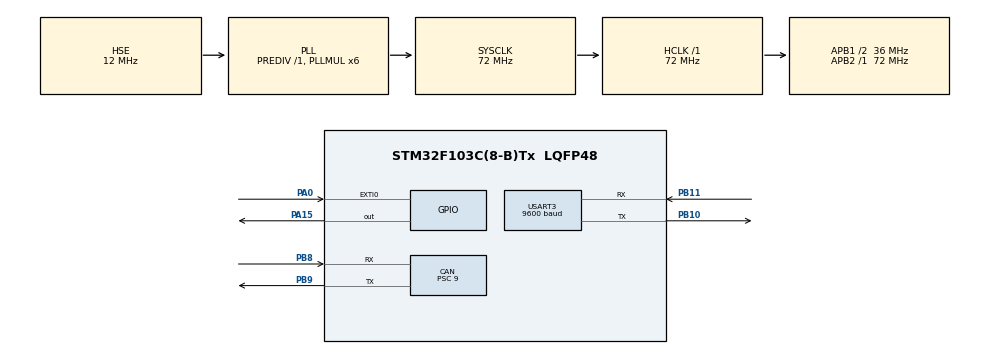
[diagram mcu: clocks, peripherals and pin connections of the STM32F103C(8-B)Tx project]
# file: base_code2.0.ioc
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CAN.BS1=CAN_BS1_2TQ
CAN.CalculateBaudRate=1000000
CAN.CalculateTimeBit=1000
CAN.CalculateTimeQuantum=250.0
CAN.Prescaler=9
Dma.Request0=USART3_RX
Dma.Request1=USART3_TX
Dma.USART3_RX.0.Direction=DMA_PERIPH_TO_MEMORY
Dma.USART3_RX.0.Instance=DMA1_Channel3
Dma.USART3_RX.0.MemDataAlignment=DMA_MDATAALIGN_BYTE
Dma.USART3_RX.0.MemInc=DMA_MINC_ENABLE
Dma.USART3_RX.0.Mode=DMA_NORMAL
Dma.USART3_RX.0.PeriphDataAlignment=DMA_PDATAALIGN_BYTE
Dma.USART3_RX.0.PeriphInc=DMA_PINC_DISABLE
Dma.USART3_RX.0.Priority=DMA_PRIORITY_HIGH
Dma.USART3_TX.1.Direction=DMA_MEMORY_TO_PERIPH
Dma.USART3_TX.1.Instance=DMA1_Channel2
Dma.USART3_TX.1.MemDataAlignment=DMA_MDATAALIGN_BYTE
Dma.USART3_TX.1.MemInc=DMA_MINC_ENABLE
Dma.USART3_TX.1.Mode=DMA_NORMAL
Dma.USART3_TX.1.PeriphDataAlignment=DMA_PDATAALIGN_BYTE
Dma.USART3_TX.1.PeriphInc=DMA_PINC_DISABLE
Dma.USART3_TX.1.Priority=DMA_PRIORITY_VERY_HIGH
Mcu.Family=STM32F1
Mcu.Name=STM32F103C(8-B)Tx
Mcu.Package=LQFP48
NVIC.CAN1_RX1_IRQn=true\:0\:0\:false\:false\:true\:true\:true\:true
NVIC.CAN1_SCE_IRQn=true\:0\:0\:false\:false\:true\:true\:true\:true
NVIC.DMA1_Channel2_IRQn=true\:0\:0\:false\:false\:true\:false\:true\:true
NVIC.DMA1_Channel3_IRQn=true\:0\:0\:false\:false\:true\:false\:true\:true
NVIC.EXTI0_IRQn=true\:0\:0\:false\:false\:true\:true\:true\:true
NVIC.PriorityGroup=NVIC_PRIORITYGROUP_4
NVIC.TIM3_IRQn=true\:0\:0\:false\:false\:true\:true\:true\:true
NVIC.TIM4_IRQn=true\:0\:0\:false\:false\:true\:true\:true\:true
NVIC.USART3_IRQn=true\:0\:0\:false\:false\:true\:false\:true\:true
NVIC.USB_HP_CAN1_TX_IRQn=true\:0\:0\:false\:false\:true\:true\:true\:true
NVIC.USB_LP_CAN1_RX0_IRQn=true\:0\:0\:false\:false\:true\:true\:true\:true
PA0-WKUP.GPIO_ModeDefaultEXTI=GPIO_MODE_IT_RISING_FALLING
PA0-WKUP.GPIO_PuPd=GPIO_PULLUP
PA0-WKUP.Signal=GPXTI0
PA13.Mode=Serial_Wire
PA13.Signal=SYS_JTMS-SWDIO
PA14.Mode=Serial_Wire
PA14.Signal=SYS_JTCK-SWCLK
PA15.GPIO_PuPd=GPIO_PULLUP
PA15.PinState=GPIO_PIN_SET
PA15.Signal=GPIO_Output
PB10.Mode=Asynchronous
PB10.Signal=USART3_TX
PB11.Mode=Asynchronous
PB11.Signal=USART3_RX
PB8.GPIO_PuPd=GPIO_PULLUP
PB8.Mode=CAN_Activate
PB8.Signal=CAN_RX
PB9.Mode=CAN_Activate
PB9.Signal=CAN_TX
PD0-OSC_IN.Mode=HSE-External-Oscillator
PD0-OSC_IN.Signal=RCC_OSC_IN
PD1-OSC_OUT.Mode=HSE-External-Oscillator
PD1-OSC_OUT.Signal=RCC_OSC_OUT
ProjectManager.HeapSize=0x200
ProjectManager.StackSize=0x400
ProjectManager.TargetToolchain=MDK-ARM V5.32
RCC.AHBFreq_Value=72000000
RCC.APB1CLKDivider=RCC_HCLK_DIV2
RCC.APB1Freq_Value=36000000
RCC.APB1TimFreq_Value=72000000
RCC.APB2Freq_Value=72000000
RCC.APB2TimFreq_Value=72000000
RCC.HCLKFreq_Value=72000000
RCC.HSE_VALUE=12000000
RCC.PLLMUL=RCC_PLL_MUL6
RCC.PLLSourceVirtual=RCC_PLLSOURCE_HSE
RCC.SYSCLKFreq_VALUE=72000000
RCC.SYSCLKSource=RCC_SYSCLKSOURCE_PLLCLK
RCC.USBFreq_Value=72000000
TIM3.AutoReloadPreload=TIM_AUTORELOAD_PRELOAD_ENABLE
TIM3.Period=39999
TIM3.Prescaler=29999
TIM4.AutoReloadPreload=TIM_AUTORELOAD_PRELOAD_ENABLE
TIM4.Period=9999
TIM4.Prescaler=7199
USART3.BaudRate=9600
USART3.VirtualMode=VM_ASYNC
VP_TIM3_VS_ClockSourceINT.Mode=Internal
VP_TIM4_VS_ClockSourceINT.Mode=Internal
board=custom

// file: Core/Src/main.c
/* USER CODE BEGIN Header */
/**
  ******************************************************************************
  * @file           : main.c
  * @brief          : Main program body
  ******************************************************************************
  * @attention
  *
  * Copyright (c) 2025 STMicroelectronics.
  * All rights reserved.
  *
  * This software is licensed under terms that can be found in the LICENSE file
  * in the root directory of this software component.
  * If no LICENSE file comes with this software, it is provided AS-IS.
  *
  ******************************************************************************
  */
/* USER CODE END Header */
#include "main.h"
#include "can.h"
#include "dma.h"
#include "tim.h"
#include "usart.h"
#include "gpio.h"

/* USER CODE BEGIN Includes */

#include "stdio.h"
#include "string.h"
#include "stdlib.h"
#include "arm_math.h"

/* USER CODE END Includes */

/* USER CODE BEGIN PTD */

//电机数据结构�?
typedef struct{
	int32_t raw_angle;
	int32_t total_angle;
	int16_t speed_rpm;
	int16_t torque_current;
	uint8_t temp;
	int32_t left_limit;
	int32_t right_limit;
}Motor_Status;
//工作状�?�枚�?
typedef enum {
	MODE_IDLE,
	MODE_PENDULUM,
	MODE_POSITION,
	MODE_INIT
}WorkMode;

/* USER CODE END PTD */

/* USER CODE BEGIN PD */

#define MAX_CURRENT 700 //输入电调的最大电�?
#ifndef SIZE
#define SIZE
#define UART_BUF_SIZE 32
#endif

#define UART_CMD_MAX_LEN 16
//PID参数
#define PID_KP 10.0f
#define PID_KI 0.0f
#define PID_KD 6.0f

/* USER CODE END PD */

/* USER CODE BEGIN PV */

//全局变量
uint8_t MOTOR_ID=1;//电机ID

WorkMode work_mode=MODE_IDLE;
Motor_Status motor={0};

int32_t target_pos=0;

uint8_t uart_rx_buf[UART_BUF_SIZE];
uint8_t uart_cmd_buf[UART_CMD_MAX_LEN];
uint8_t uart_buf[64];
volatile uint8_t uart_cmd_ready = 0;

//PID结构�?
static arm_pid_instance_f32 pid;
static float32_t pid_output;
static float32_t pid_target;

/* USER CODE END PV */

void SystemClock_Config(void);
/* USER CODE BEGIN PFP */

//函数声明
void Update_Angle_Data(uint8_t* rx_data);
void HAL_CAN_RxFifo0MsgPendingCallback(CAN_HandleTypeDef *hcan);
void Limit_Init();//左右端角度初始化
void Process_UART_Command(uint8_t* buf);
void Motor_Control_Task();
void PID_Init();
void PID_Control(int32_t target);
//void Send_Motor_Current(uint8_t id,int16_t current);
void CAN_Filter_Init(CAN_HandleTypeDef *hcan);
void cmd_motor(CAN_HandleTypeDef *hcan,uint32_t stdid,int16_t motor1,int16_t motor2,int16_t motor3,int16_t motor4);

//void HAL_UARTEx_RxEventCallback(UART_HandleTypeDef *huart,uint16_t size);

/* USER CODE END PFP */

/* USER CODE BEGIN 0 */

//函数定义

//电机控制
void cmd_motor(CAN_HandleTypeDef *hcan,uint32_t stdid,int16_t motor1,int16_t motor2,int16_t motor3,int16_t motor4)
{
	CAN_TxHeaderTypeDef motor_tx_message;
    uint32_t send_mail_box;
	uint8_t can_tx_data[8];

    motor_tx_message.StdId=stdid;
    motor_tx_message.IDE=CAN_ID_STD;
    motor_tx_message.RTR=CAN_RTR_DATA;
    motor_tx_message.DLC=0x08;

    can_tx_data[0]=motor1>> 8;
    can_tx_data[1]=motor1;
    can_tx_data[2]=motor2 >>8;
    can_tx_data[3]=motor2;
    can_tx_data[4]=motor3>>8;
    can_tx_data[5]=motor3;
    can_tx_data[6]=motor4>>8;
    can_tx_data[7]=motor4;

    HAL_CAN_AddTxMessage(hcan, &motor_tx_message,can_tx_data,&send_mail_box);
}

//角度处理函数（CAN回调中调用）
void Update_Angle_Data(uint8_t* rx_data)
{
	static int32_t last_angle=0;
	int32_t new_angle=(rx_data[0]<<8)|rx_data[1];

	//处理突变
	int32_t delta=new_angle-last_angle;
	if(delta<-3000)delta+=8192;//正转过圈
	else if(delta>3000)delta-=8192;//逆转过圈

	motor.total_angle+=delta;
	motor.raw_angle=new_angle;
	last_angle=new_angle;
}

//CAN接收回调函数
void HAL_CAN_RxFifo0MsgPendingCallback(CAN_HandleTypeDef *hcan)
{
	CAN_RxHeaderTypeDef rx_header;
	uint8_t rx_data[8];

	HAL_CAN_GetRxMessage(hcan,CAN_RX_FIFO0,&rx_header,rx_data);

	//if(rx_header.StdId==0x200+MOTOR_ID){} 此处省略

	//数据更新
	Update_Angle_Data(rx_data);
	motor.speed_rpm=(rx_data[2]<<8)|rx_data[3];
	motor.torque_current=(rx_data[4]<<8)|rx_data[5];
	motor.temp=rx_data[6];
}

//左右端角度初始化
void Limit_Init()
{
	HAL_TIM_Base_Stop_IT(&htim3);
	//左初始化
	int32_t last_angle=motor.total_angle;
	uint32_t last_tick=HAL_GetTick();
	while(1)
	{
		//向左发�?�最大电�?
		while(1)
		{
			cmd_motor(&hcan,0x200,-MAX_CURRENT,-MAX_CURRENT,-MAX_CURRENT,-MAX_CURRENT);
			HAL_Delay(1);
			if(HAL_GetTick()-last_tick>500)break;
		}
		last_tick=HAL_GetTick();
		int32_t delta=motor.total_angle-last_angle;
		if(abs(delta)<10)
		{
			motor.left_limit=0;
			motor.total_angle=0;
			break;
		}
		last_angle=motor.total_angle;
		HAL_Delay(10);
	}

	//右初始化
	while(1)
	{
		//向右发�?�最大电�?
		while(1)
		{
			cmd_motor(&hcan,0x200,MAX_CURRENT,MAX_CURRENT,MAX_CURRENT,MAX_CURRENT);
			HAL_Delay(1);
			if(HAL_GetTick()-last_tick>500)break;
		}
		last_tick=HAL_GetTick();
		int32_t delta=motor.total_angle-last_angle;
		if(abs(delta)<10)
		{
			motor.right_limit=motor.total_angle-10000;
			break;
		}
		last_angle=motor.total_angle;
		HAL_Delay(10);
	}

	cmd_motor(&hcan,0x200,0,0,0,0);//停止电机
	work_mode=MODE_IDLE;
	//HAL_TIM_Base_Start_IT(&htim3);
}

//UART指令处理（UART中断回调中调用）
void Process_UART_Command(uint8_t* buf)
{
	if(strstr((char*)buf,"MODE1"))
	{
		work_mode=MODE_PENDULUM;
	}else if(strstr((char*)buf,"STOP"))
	{
		work_mode=MODE_IDLE;
	}else if(strstr((char*)buf,"POS:"))
	{
		float percent=atof((char*)(buf+4))/100.0f;
		target_pos=motor.left_limit+(int32_t)(percent*(motor.right_limit-motor.left_limit));
		work_mode=MODE_POSITION;
	}else if(strstr((char*)buf,"INIT"))
	{
		work_mode=MODE_INIT;
	}
}

//main中while循环
void Motor_Control_Task()
{
	//10tick执行�?�?
	static uint32_t last_tick=0;
	if(HAL_GetTick()-last_tick<10)return;
	last_tick=HAL_GetTick();

	switch(work_mode)
	{
		//钟摆 MODE1
		case MODE_PENDULUM:
		{
			static int8_t direction=-1;//1：向右；-1：向�?
			int32_t current_pos=motor.total_angle;
			//计算目标位置
			int32_t target=direction>0?(motor.right_limit-500):(motor.left_limit+500);
			PID_Control(target);

			//到达边界转向
			if(direction==-1&&current_pos<=motor.left_limit+500)direction=1;
			else if(direction==1&&current_pos>=motor.right_limit-500)direction=-1;
			last_tick=HAL_GetTick();

			break;
		}
		//定位 POS:
		case MODE_POSITION:
		{
			PID_Control(target_pos);
			break;
		}
		//闲置 STOP
		case MODE_IDLE:
		{
//			Send_Motor_Current(MOTOR_ID,0);
			cmd_motor(&hcan,0x200,0,0,0,0);
			break;
		}
		case MODE_INIT:
		{
			Limit_Init();
		}
	}
}

//PID初始�?
void PID_Init()
{
	pid.Kp=PID_KP;
	pid.Ki=PID_KI;
	pid.Kd=PID_KD;
	pid.A0=1.0f;
	pid.A1=0.0f;
	pid.A2=0.0f;
	arm_pid_init_f32(&pid,1);
}

//实现PID电机控制
void PID_Control(int32_t target)
{

	pid_target=(float32_t)target;
	float error=pid_target-(float32_t)motor.total_angle;

	pid_output=arm_pid_f32(&pid,error);

	if(pid_output>0&&error>5000)
	{
		arm_clip_f32(&pid_output,&pid_output,500,MAX_CURRENT,1);
	}else if(pid_output<0&&error<-5000)
	{
		arm_clip_f32(&pid_output,&pid_output,-MAX_CURRENT,-500,1);
	}else
	{
		arm_clip_f32(&pid_output,&pid_output,-MAX_CURRENT,MAX_CURRENT,1);
	}
	cmd_motor(&hcan,0x200,(int16_t)pid_output,(int16_t)pid_output,(int16_t)pid_output,(int16_t)pid_output);
}

const char* WorkMode_To_Str(WorkMode mode) {
    const char* mode_str[] = {"IDLE", "PENDULUM", "POSITION", "INIT"};
    return (mode <= MODE_INIT) ? mode_str[mode] : "UNKNOWN";
}

//定时器中断回调（用于安全�?测）
void HAL_TIM_PeriodElapsedCallback(TIM_HandleTypeDef *htim)
{
//	if(htim==&htim3)//10ms定时�?
//	{
//		static int32_t last_pos=0;
//
//		//�?测堵转（位置变化过小
//		if(abs(motor.total_angle-last_pos)<5)
//		{
//			//触发保护停止
//			cmd_motor(&hcan,0x200,0,0,0,0);
//			work_mode=MODE_IDLE;
//		}
//		last_pos=motor.total_angle;
//	}
	if(htim==&htim4)
	{
		//发�?�状态数�?
		//发�?�有乱码 读写�?

		HAL_CAN_DeactivateNotification(&hcan, CAN_IT_RX_FIFO0_MSG_PENDING);

//		_snprintf((char*)uart_buf,sizeof(uart_buf),
//			"Pos:%ld Current:%ld Target:%ldmode:%s\r\n",
//			motor.total_angle,
//			motor.torque_current,
//			target_pos,
//			WorkMode_To_Str(work_mode));
		//用于数据分析
		uint8_t frame_start[] = {0xAA};
		HAL_UART_Transmit(&huart3, frame_start, sizeof(frame_start), 100);
		_snprintf((char*)uart_buf,sizeof(uart_buf),
			"%d,%d,%d,%d\r\n",
			motor.total_angle,
			(int32_t)motor.torque_current,
			target_pos,(int32_t)0);
		HAL_UART_Transmit_IT(&huart3,uart_buf,strlen((char*)uart_buf));

		HAL_CAN_ActivateNotification(&hcan, CAN_IT_RX_FIFO0_MSG_PENDING);
	}
}

//CAN通信初始�?
void CAN_Filter_Init(CAN_HandleTypeDef *hcan)
{
	CAN_FilterTypeDef can_filter;
	can_filter.FilterIdHigh=0x0000;
	can_filter.FilterIdLow=0x0000;
	can_filter.FilterMaskIdHigh=0x0000;
	can_filter.FilterMaskIdLow=0x0000;
	can_filter.FilterFIFOAssignment=CAN_RX_FIFO0;
	can_filter.FilterBank=0;
	can_filter.FilterMode=CAN_FILTERMODE_IDMASK;
	can_filter.FilterScale=CAN_FILTERSCALE_32BIT;
	can_filter.FilterActivation=ENABLE;

	HAL_CAN_ConfigFilter(hcan,&can_filter);
	HAL_CAN_Start(hcan);
	HAL_CAN_ActivateNotification(hcan,CAN_IT_RX_FIFO0_MSG_PENDING);
}

//UART接收回调函数
void HAL_UARTEx_RxEventCallback(UART_HandleTypeDef *huart,uint16_t size)
{
	if(huart==&huart3)
	{
		char *start = (char*)uart_rx_buf;
        char *end = strchr(start, '\n');

        while(end != NULL) {
            // 拷贝单条指令到处理缓冲区
            uint8_t len = end - start;
            len = (len > UART_CMD_MAX_LEN-1) ? UART_CMD_MAX_LEN-1 : len;
            memcpy(uart_cmd_buf, start, len);
            uart_cmd_buf[len] = '\0';

            // 处理下一条指�?
            start = end + 1;
            end = strchr(start, '\n');
        }
//		HAL_UART_Transmit_DMA(&huart3,uart_cmd_buf,sizeof(uart_cmd_buf));
        HAL_GPIO_TogglePin(GPIOA,GPIO_PIN_15);
		Process_UART_Command(uart_cmd_buf);
        // 重启DMA接收
		memset(uart_rx_buf,0,UART_BUF_SIZE);
        HAL_UARTEx_ReceiveToIdle_DMA(&huart3, uart_rx_buf, UART_BUF_SIZE);
	}
}
/* USER CODE END 0 */

int main(void)
{

  /* MCU Configuration--------------------------------------------------------*/

  /* Reset of all peripherals, Initializes the Flash interface and the Systick. */
  HAL_Init();

  /* Configure the system clock */
  SystemClock_Config();

  /* Initialize all configured peripherals */
  MX_GPIO_Init();
  MX_DMA_Init();
  MX_CAN_Init();
  MX_USART3_UART_Init();
  MX_TIM3_Init();
  MX_TIM4_Init();
  /* USER CODE BEGIN 2 */
  HAL_TIM_Base_Stop(&htim3);

  CAN_Filter_Init(&hcan);
  PID_Init();

//  HAL_TIM_Base_Start_IT(&htim3);//启动10ms定时�?
  HAL_TIM_Base_Start_IT(&htim4);
  Limit_Init();
  /* USER CODE END 2 */

  /* Infinite loop */
  /* USER CODE BEGIN WHILE */
  while (1)
  {
//	  if(uart_data_ready)
//	  {
//		  Process_UART_Command(uart_rx_buf);
//		  HAL_UART_Transmit(&huart3,uart_rx_buf,UART_BUF_SIZE,100);
//		  uart_data_ready=0;
//		  memset(uart_rx_buf,0,UART_BUF_SIZE);
//	  }
	  Motor_Control_Task();
    /* USER CODE END WHILE */

  }
}

void SystemClock_Config(void)
{
  RCC_OscInitTypeDef RCC_OscInitStruct = {0};
  RCC_ClkInitTypeDef RCC_ClkInitStruct = {0};

  /** Initializes the RCC Oscillators according to the specified parameters
  * in the RCC_OscInitTypeDef structure.
  */
  RCC_OscInitStruct.OscillatorType = RCC_OSCILLATORTYPE_HSE;
  RCC_OscInitStruct.HSEState = RCC_HSE_ON;
  RCC_OscInitStruct.HSEPredivValue = RCC_HSE_PREDIV_DIV1;
  RCC_OscInitStruct.HSIState = RCC_HSI_ON;
  RCC_OscInitStruct.PLL.PLLState = RCC_PLL_ON;
  RCC_OscInitStruct.PLL.PLLSource = RCC_PLLSOURCE_HSE;
  RCC_OscInitStruct.PLL.PLLMUL = RCC_PLL_MUL6;
  if (HAL_RCC_OscConfig(&RCC_OscInitStruct) != HAL_OK)
  {
    Error_Handler();
  }

  /** Initializes the CPU, AHB and APB buses clocks
  */
  RCC_ClkInitStruct.ClockType = RCC_CLOCKTYPE_HCLK|RCC_CLOCKTYPE_SYSCLK
                              |RCC_CLOCKTYPE_PCLK1|RCC_CLOCKTYPE_PCLK2;
  RCC_ClkInitStruct.SYSCLKSource = RCC_SYSCLKSOURCE_PLLCLK;
  RCC_ClkInitStruct.AHBCLKDivider = RCC_SYSCLK_DIV1;
  RCC_ClkInitStruct.APB1CLKDivider = RCC_HCLK_DIV2;
  RCC_ClkInitStruct.APB2CLKDivider = RCC_HCLK_DIV1;

  if (HAL_RCC_ClockConfig(&RCC_ClkInitStruct, FLASH_LATENCY_2) != HAL_OK)
  {
    Error_Handler();
  }
}

void Error_Handler(void)
{
  __disable_irq();
  while (1)
  {
  }
}
